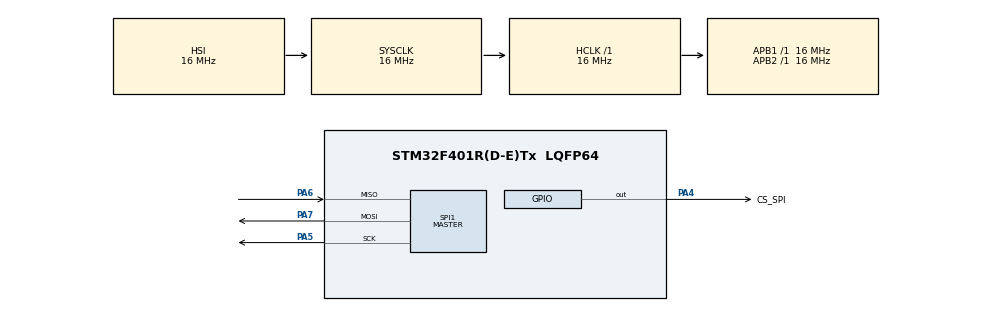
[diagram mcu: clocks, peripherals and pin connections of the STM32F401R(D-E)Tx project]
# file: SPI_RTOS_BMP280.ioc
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FREERTOS.Tasks01=SPITask,24,256,StartSPITask,Default,NULL,Dynamic,NULL,NULL
FREERTOS.configUSE_NEWLIB_REENTRANT=1
Mcu.Family=STM32F4
Mcu.Name=STM32F401R(D-E)Tx
Mcu.Package=LQFP64
NVIC.PriorityGroup=NVIC_PRIORITYGROUP_4
NVIC.TIM4_IRQn=true\:15\:0\:false\:false\:true\:false\:false\:true\:true
NVIC.TimeBase=TIM4_IRQn
NVIC.TimeBaseIP=TIM4
PA13.Mode=Trace_Asynchronous_SW
PA13.Signal=SYS_JTMS-SWDIO
PA14.Mode=Trace_Asynchronous_SW
PA14.Signal=SYS_JTCK-SWCLK
PA4.GPIO_Label=CS_SPI
PA4.PinState=GPIO_PIN_SET
PA4.Signal=GPIO_Output
PA5.Mode=Full_Duplex_Master
PA5.Signal=SPI1_SCK
PA6.Mode=Full_Duplex_Master
PA6.Signal=SPI1_MISO
PA7.Mode=Full_Duplex_Master
PA7.Signal=SPI1_MOSI
PB3.Mode=Trace_Asynchronous_SW
PB3.Signal=SYS_JTDO-SWO
ProjectManager.HeapSize=0x200
ProjectManager.StackSize=0x400
ProjectManager.TargetToolchain=STM32CubeIDE
RCC.AHBFreq_Value=16000000
RCC.APB1Freq_Value=16000000
RCC.APB2Freq_Value=16000000
RCC.CortexFreq_Value=16000000
RCC.HSE_VALUE=25000000
RCC.HSI_VALUE=16000000
RCC.LSE_VALUE=32768
RCC.SYSCLKFreq_VALUE=16000000
RCC.VCOOutputFreq_Value=192000000
SPI1.BaudRatePrescaler=SPI_BAUDRATEPRESCALER_2
SPI1.CLKPhase=SPI_PHASE_2EDGE
SPI1.CLKPolarity=SPI_POLARITY_HIGH
SPI1.Direction=SPI_DIRECTION_2LINES
SPI1.Mode=SPI_MODE_MASTER
SPI1.VirtualType=VM_MASTER
VP_FREERTOS_VS_CMSIS_V2.Mode=CMSIS_V2
VP_SYS_VS_tim4.Mode=TIM4
board=custom

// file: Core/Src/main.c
/* USER CODE BEGIN Header */
/**
  ******************************************************************************
  * @file           : main.c
  * @brief          : Main program body
  ******************************************************************************
  * @attention
  *
  * Copyright (c) 2023 STMicroelectronics.
  * All rights reserved.
  *
  * This software is licensed under terms that can be found in the LICENSE file
  * in the root directory of this software component.
  * If no LICENSE file comes with this software, it is provided AS-IS.
  *
  ******************************************************************************
  */
/* USER CODE END Header */
#include "main.h"
#include "cmsis_os.h"

/* USER CODE BEGIN Includes */
#include "string.h"
#include "stdio.h"
#include "BMP280.h"
/* USER CODE END Includes */

SPI_HandleTypeDef hspi1;

/* Definitions for SPITask */
osThreadId_t SPITaskHandle;
const osThreadAttr_t SPITask_attributes = {
  .name = "SPITask",
  .stack_size = 256 * 4,
  .priority = (osPriority_t) osPriorityNormal,
};
/* USER CODE BEGIN PV */
BMP280_HandleTypeDef bmp280;

double pressure;
double temperature;

uint8_t Data[100];
/* USER CODE END PV */

void SystemClock_Config(void);
static void MX_GPIO_Init(void);
static void MX_SPI1_Init(void);
void StartSPITask(void *argument);

/* USER CODE BEGIN PFP */
void Task_action(char *message);
/* USER CODE END PFP */

int main(void)
{

  /* MCU Configuration--------------------------------------------------------*/

  /* Reset of all peripherals, Initializes the Flash interface and the Systick. */
  HAL_Init();

  /* Configure the system clock */
  SystemClock_Config();

  /* Initialize all configured peripherals */
  MX_GPIO_Init();
  MX_SPI1_Init();

  /* Init scheduler */
  osKernelInitialize();

  /* Create the thread(s) */
  /* creation of SPITask */
  SPITaskHandle = osThreadNew(StartSPITask, NULL, &SPITask_attributes);

  /* Start scheduler */
  osKernelStart();
  /* We should never get here as control is now taken by the scheduler */
  /* Infinite loop */
  while (1)
  {

  }
}

void SystemClock_Config(void)
{
  RCC_OscInitTypeDef RCC_OscInitStruct = {0};
  RCC_ClkInitTypeDef RCC_ClkInitStruct = {0};

  /** Configure the main internal regulator output voltage
  */
  __HAL_RCC_PWR_CLK_ENABLE();
  __HAL_PWR_VOLTAGESCALING_CONFIG(PWR_REGULATOR_VOLTAGE_SCALE2);

  /** Initializes the RCC Oscillators according to the specified parameters
  * in the RCC_OscInitTypeDef structure.
  */
  RCC_OscInitStruct.OscillatorType = RCC_OSCILLATORTYPE_HSI;
  RCC_OscInitStruct.HSIState = RCC_HSI_ON;
  RCC_OscInitStruct.HSICalibrationValue = RCC_HSICALIBRATION_DEFAULT;
  RCC_OscInitStruct.PLL.PLLState = RCC_PLL_NONE;
  if (HAL_RCC_OscConfig(&RCC_OscInitStruct) != HAL_OK)
  {
    Error_Handler();
  }

  /** Initializes the CPU, AHB and APB buses clocks
  */
  RCC_ClkInitStruct.ClockType = RCC_CLOCKTYPE_HCLK|RCC_CLOCKTYPE_SYSCLK
                              |RCC_CLOCKTYPE_PCLK1|RCC_CLOCKTYPE_PCLK2;
  RCC_ClkInitStruct.SYSCLKSource = RCC_SYSCLKSOURCE_HSI;
  RCC_ClkInitStruct.AHBCLKDivider = RCC_SYSCLK_DIV1;
  RCC_ClkInitStruct.APB1CLKDivider = RCC_HCLK_DIV1;
  RCC_ClkInitStruct.APB2CLKDivider = RCC_HCLK_DIV1;

  if (HAL_RCC_ClockConfig(&RCC_ClkInitStruct, FLASH_LATENCY_0) != HAL_OK)
  {
    Error_Handler();
  }
}

static void MX_SPI1_Init(void)
{

  /* SPI1 parameter configuration*/
  hspi1.Instance = SPI1;
  hspi1.Init.Mode = SPI_MODE_MASTER;
  hspi1.Init.Direction = SPI_DIRECTION_2LINES;
  hspi1.Init.DataSize = SPI_DATASIZE_8BIT;
  hspi1.Init.CLKPolarity = SPI_POLARITY_HIGH;
  hspi1.Init.CLKPhase = SPI_PHASE_2EDGE;
  hspi1.Init.NSS = SPI_NSS_SOFT;
  hspi1.Init.BaudRatePrescaler = SPI_BAUDRATEPRESCALER_2;
  hspi1.Init.FirstBit = SPI_FIRSTBIT_MSB;
  hspi1.Init.TIMode = SPI_TIMODE_DISABLE;
  hspi1.Init.CRCCalculation = SPI_CRCCALCULATION_DISABLE;
  hspi1.Init.CRCPolynomial = 10;
  if (HAL_SPI_Init(&hspi1) != HAL_OK)
  {
    Error_Handler();
  }

}

static void MX_GPIO_Init(void)
{
  GPIO_InitTypeDef GPIO_InitStruct = {0};

  /* GPIO Ports Clock Enable */
  __HAL_RCC_GPIOA_CLK_ENABLE();
  __HAL_RCC_GPIOB_CLK_ENABLE();

  /*Configure GPIO pin Output Level */
  HAL_GPIO_WritePin(CS_SPI_GPIO_Port, CS_SPI_Pin, GPIO_PIN_SET);

  /*Configure GPIO pin : CS_SPI_Pin */
  GPIO_InitStruct.Pin = CS_SPI_Pin;
  GPIO_InitStruct.Mode = GPIO_MODE_OUTPUT_PP;
  GPIO_InitStruct.Pull = GPIO_NOPULL;
  GPIO_InitStruct.Speed = GPIO_SPEED_FREQ_LOW;
  HAL_GPIO_Init(CS_SPI_GPIO_Port, &GPIO_InitStruct);

}

/* USER CODE BEGIN 4 */
void Task_action(char *message)
{
	while(*message)
	{
		ITM_SendChar(*message++);
	}
	ITM_SendChar('\n');
}
/* USER CODE END 4 */

void StartSPITask(void *argument)
{
  /* USER CODE BEGIN 5 */
	bmp280.hspi = &hspi1;
	bmp280.gpioport = CS_SPI_GPIO_Port;
	bmp280.gpiopin = CS_SPI_Pin;

	BMP280_Init(&bmp280);
  /* Infinite loop */
  for(;;)
  {
	  if (BMP280_Get_Temperature_Pressure(&bmp280, &temperature, &pressure) == true)
	  {
		  sprintf((char *)Data,"Pressure: %.2f Pa, Temperature: %.2f C", pressure, temperature);
	  	  Task_action((char *)Data);
	  	  HAL_Delay(1000);
	  }else {
	  	  sprintf((char *)Data,"Cannot read Pressure and Temperature");
	  	  Task_action((char *)Data);
	  	  HAL_Delay(1000);
	  }

	  osDelay(500);
  }
  /* USER CODE END 5 */
}

void HAL_TIM_PeriodElapsedCallback(TIM_HandleTypeDef *htim)
{
  if (htim->Instance == TIM4) {
    HAL_IncTick();
  }
}

void Error_Handler(void)
{
  __disable_irq();
  while (1)
  {
  }
}
